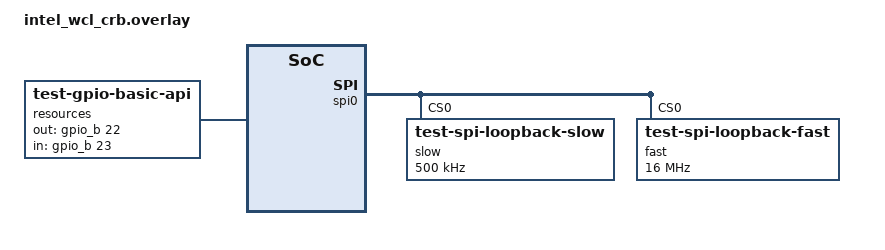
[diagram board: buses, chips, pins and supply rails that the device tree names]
/*
 * Copyright (c) 2025 Intel Corporation
 *
 * SPDX-License-Identifier: Apache-2.0
 */

&spi0 {
	pw,cs-mode = <0>;
	pw,cs-output = <0>;
	status = "okay";

	slow@0 {
		compatible = "test-spi-loopback-slow";
		reg = <0>;
		spi-max-frequency = <500000>;
	};

	fast@0 {
		compatible = "test-spi-loopback-fast";
		reg = <0>;
		spi-max-frequency = <16000000>;
	};
};

&gpio_e {
	status = "okay";
};

&gpio_b {
	status = "okay";
};

/ {
	resources {
		compatible = "test-gpio-basic-api";
		out-gpios = <&gpio_b 22 0>;
		in-gpios = <&gpio_b 23 0>;
	};
};
